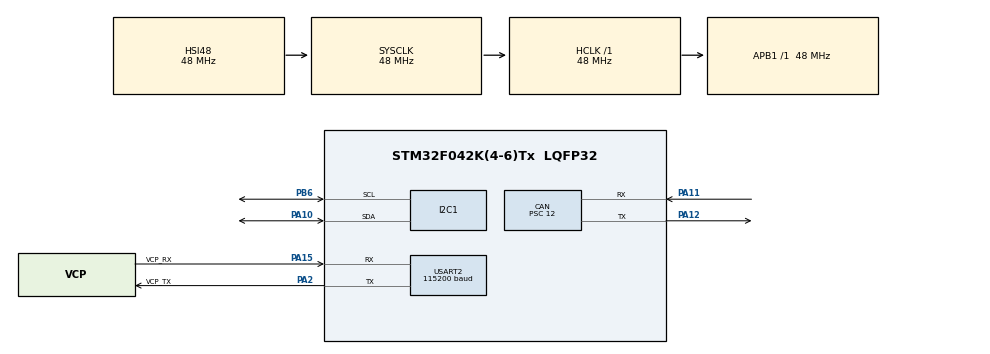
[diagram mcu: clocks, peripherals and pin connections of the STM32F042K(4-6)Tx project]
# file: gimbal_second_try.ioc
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CAN.BS1=CAN_BS1_13TQ
CAN.BS2=CAN_BS2_2TQ
CAN.CalculateBaudRate=250000
CAN.CalculateTimeBit=4000
CAN.CalculateTimeQuantum=250.0
CAN.Prescaler=12
I2C1.Timing=0x10805D88
Mcu.Family=STM32F0
Mcu.Name=STM32F042K(4-6)Tx
Mcu.Package=LQFP32
NVIC.USART2_IRQn=true\:0\:0\:false\:false\:true\:true\:true\:true
PA10.Mode=I2C
PA10.Signal=I2C1_SDA
PA11.Mode=CAN_Activate
PA11.Signal=CAN_RX
PA12.Mode=CAN_Activate
PA12.Signal=CAN_TX
PA13.GPIO_Label=SWDIO
PA13.Mode=Serial_Wire
PA13.Signal=SYS_SWDIO
PA14.GPIO_Label=SWCLK
PA14.Mode=Serial_Wire
PA14.Signal=SYS_SWCLK
PA15.GPIO_Label=VCP_RX
PA15.GPIO_PuPd=GPIO_NOPULL
PA15.Mode=Asynchronous
PA15.Signal=USART2_RX
PA2.GPIO_Label=VCP_TX
PA2.GPIO_PuPd=GPIO_NOPULL
PA2.Mode=Asynchronous
PA2.Signal=USART2_TX
PB6.Mode=I2C
PB6.Signal=I2C1_SCL
PF0-OSC_IN.GPIO_Label=MCO
PF0-OSC_IN.Mode=HSE-External-Clock-Source
PF0-OSC_IN.Signal=RCC_OSC_IN
ProjectManager.HeapSize=0x200
ProjectManager.StackSize=0x400
ProjectManager.TargetToolchain=STM32CubeIDE
RCC.AHBFreq_Value=48000000
RCC.APB1Freq_Value=48000000
RCC.APB1TimFreq_Value=48000000
RCC.HCLKFreq_Value=48000000
RCC.I2c1ClockSelection=RCC_I2C1CLKSOURCE_SYSCLK
RCC.SYSCLKFreq_VALUE=48000000
RCC.SYSCLKSource=RCC_SYSCLKSOURCE_HSI48
USART2.BaudRate=115200
USART2.VirtualMode-Asynchronous=VM_ASYNC
board=NUCLEO-F042K6

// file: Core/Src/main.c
/* USER CODE BEGIN Header */
/**
  ******************************************************************************
  * @file           : main.c
  * @brief          : Main program body
  ******************************************************************************
  * @attention
  *
  * Copyright (c) 2025 STMicroelectronics.
  * All rights reserved.
  *
  * This software is licensed under terms that can be found in the LICENSE file
  * in the root directory of this software component.
  * If no LICENSE file comes with this software, it is provided AS-IS.
  *
  ******************************************************************************
  */
/* USER CODE END Header */
#include "main.h"

/* USER CODE BEGIN Includes */
#include "ICM20602.h"
#include <stdio.h>
#include <string.h>
/* USER CODE END Includes */

CAN_HandleTypeDef hcan;

I2C_HandleTypeDef hi2c1;

UART_HandleTypeDef huart2;

/* USER CODE BEGIN PV */
float gx, gy, gz;
int iic_err = 0;
extern float gyro_y;
extern float deg_XZ;
char msg5[64];
volatile uint32_t cf_update_count = 0;
volatile uint32_t last_print_time = 0;
/* USER CODE END PV */

void SystemClock_Config(void);
static void MX_GPIO_Init(void);
static void MX_USART2_UART_Init(void);
static void MX_I2C1_Init(void);
static void MX_CAN_Init(void);

int main(void)
{

  /* MCU Configuration--------------------------------------------------------*/

  /* Reset of all peripherals, Initializes the Flash interface and the Systick. */
  HAL_Init();

  /* Configure the system clock */
  SystemClock_Config();

  /* Initialize all configured peripherals */
  MX_GPIO_Init();
  MX_USART2_UART_Init();
  MX_I2C1_Init();
  MX_CAN_Init();
  /* USER CODE BEGIN 2 */
  ICM20602_Init(/*ad0=*/0, /*dlpf_cfg=*/2, /*smpl_div=*/4, /*fs=*/GFS_1000);
  CompFilter filter;
  CF_Init(&filter, 0.0);
  /* USER CODE END 2 */

  /* Infinite loop */
  /* USER CODE BEGIN WHILE */
  while (1)
  {
	  Read_Gyro();
	  Read_Data_ACC();
	  CF_Update(&filter, gyro_y,deg_XZ);

	  	/*
	  	 *
	  sprintf(msg5, "angle: %d ACC:%d \r\n", (int)(filter.angle), (int)deg_XZ);
	  HAL_UART_Transmit(&huart2, (uint8_t*)msg5, strlen(msg5), 100);
	  	 */

	  /*
	   *
	  char msg[64];
	  if (ICM20602_ReadGyroDPS(0, GFS_1000, &gx, &gy, &gz) != HAL_OK) {
		  count++;
		  sprintf(msg, "time %d\r\n", (int)(count));
		  HAL_UART_Transmit(&huart2, (uint8_t*)msg, strlen(msg), 100);
	  }
	   */
	  //Combine_sensor();
	  //Read_Gyro();
	  //Read_Data_ACC();

	  /* Control of I2C
	   *
	  char msg5[64];
	  uint32_t timestart = HAL_GetTick();
	  for (int i = 0; i < 10; ++i){
		  Read_Gyro();
	  }
	  uint32_t timeend = HAL_GetTick();
	  sprintf(msg5, "time %d %d\r\n",(int)(timeend - timestart), iic_err);
	  HAL_UART_Transmit(&huart2, (uint8_t*)msg5, strlen(msg5), 100);
	   */

    /* USER CODE END WHILE */

  }
}

void SystemClock_Config(void)
{
  RCC_OscInitTypeDef RCC_OscInitStruct = {0};
  RCC_ClkInitTypeDef RCC_ClkInitStruct = {0};
  RCC_PeriphCLKInitTypeDef PeriphClkInit = {0};

  /** Initializes the RCC Oscillators according to the specified parameters
  * in the RCC_OscInitTypeDef structure.
  */
  RCC_OscInitStruct.OscillatorType = RCC_OSCILLATORTYPE_HSI48;
  RCC_OscInitStruct.HSI48State = RCC_HSI48_ON;
  RCC_OscInitStruct.PLL.PLLState = RCC_PLL_NONE;
  if (HAL_RCC_OscConfig(&RCC_OscInitStruct) != HAL_OK)
  {
    Error_Handler();
  }

  /** Initializes the CPU, AHB and APB buses clocks
  */
  RCC_ClkInitStruct.ClockType = RCC_CLOCKTYPE_HCLK|RCC_CLOCKTYPE_SYSCLK
                              |RCC_CLOCKTYPE_PCLK1;
  RCC_ClkInitStruct.SYSCLKSource = RCC_SYSCLKSOURCE_HSI48;
  RCC_ClkInitStruct.AHBCLKDivider = RCC_SYSCLK_DIV1;
  RCC_ClkInitStruct.APB1CLKDivider = RCC_HCLK_DIV1;

  if (HAL_RCC_ClockConfig(&RCC_ClkInitStruct, FLASH_LATENCY_1) != HAL_OK)
  {
    Error_Handler();
  }
  PeriphClkInit.PeriphClockSelection = RCC_PERIPHCLK_I2C1;
  PeriphClkInit.I2c1ClockSelection = RCC_I2C1CLKSOURCE_SYSCLK;
  if (HAL_RCCEx_PeriphCLKConfig(&PeriphClkInit) != HAL_OK)
  {
    Error_Handler();
  }
}

static void MX_CAN_Init(void)
{

  hcan.Instance = CAN;
  hcan.Init.Prescaler = 12;
  hcan.Init.Mode = CAN_MODE_NORMAL;
  hcan.Init.SyncJumpWidth = CAN_SJW_1TQ;
  hcan.Init.TimeSeg1 = CAN_BS1_13TQ;
  hcan.Init.TimeSeg2 = CAN_BS2_2TQ;
  hcan.Init.TimeTriggeredMode = DISABLE;
  hcan.Init.AutoBusOff = DISABLE;
  hcan.Init.AutoWakeUp = DISABLE;
  hcan.Init.AutoRetransmission = DISABLE;
  hcan.Init.ReceiveFifoLocked = DISABLE;
  hcan.Init.TransmitFifoPriority = DISABLE;
  if (HAL_CAN_Init(&hcan) != HAL_OK)
  {
    Error_Handler();
  }

}

static void MX_I2C1_Init(void)
{

  hi2c1.Instance = I2C1;
  hi2c1.Init.Timing = 0x10805D88;
  hi2c1.Init.OwnAddress1 = 0;
  hi2c1.Init.AddressingMode = I2C_ADDRESSINGMODE_7BIT;
  hi2c1.Init.DualAddressMode = I2C_DUALADDRESS_DISABLE;
  hi2c1.Init.OwnAddress2 = 0;
  hi2c1.Init.OwnAddress2Masks = I2C_OA2_NOMASK;
  hi2c1.Init.GeneralCallMode = I2C_GENERALCALL_DISABLE;
  hi2c1.Init.NoStretchMode = I2C_NOSTRETCH_DISABLE;
  if (HAL_I2C_Init(&hi2c1) != HAL_OK)
  {
    Error_Handler();
  }

  /** Configure Analogue filter
  */
  if (HAL_I2CEx_ConfigAnalogFilter(&hi2c1, I2C_ANALOGFILTER_ENABLE) != HAL_OK)
  {
    Error_Handler();
  }

  /** Configure Digital filter
  */
  if (HAL_I2CEx_ConfigDigitalFilter(&hi2c1, 0) != HAL_OK)
  {
    Error_Handler();
  }

}

static void MX_USART2_UART_Init(void)
{

  huart2.Instance = USART2;
  huart2.Init.BaudRate = 115200;
  huart2.Init.WordLength = UART_WORDLENGTH_8B;
  huart2.Init.StopBits = UART_STOPBITS_1;
  huart2.Init.Parity = UART_PARITY_NONE;
  huart2.Init.Mode = UART_MODE_TX_RX;
  huart2.Init.HwFlowCtl = UART_HWCONTROL_NONE;
  huart2.Init.OverSampling = UART_OVERSAMPLING_16;
  huart2.Init.OneBitSampling = UART_ONE_BIT_SAMPLE_DISABLE;
  huart2.AdvancedInit.AdvFeatureInit = UART_ADVFEATURE_NO_INIT;
  if (HAL_UART_Init(&huart2) != HAL_OK)
  {
    Error_Handler();
  }

}

static void MX_GPIO_Init(void)
{

  /* GPIO Ports Clock Enable */
  __HAL_RCC_GPIOF_CLK_ENABLE();
  __HAL_RCC_GPIOA_CLK_ENABLE();
  __HAL_RCC_GPIOB_CLK_ENABLE();

}

void Error_Handler(void)
{
  __disable_irq();
  while (1)
  {
  }
}
